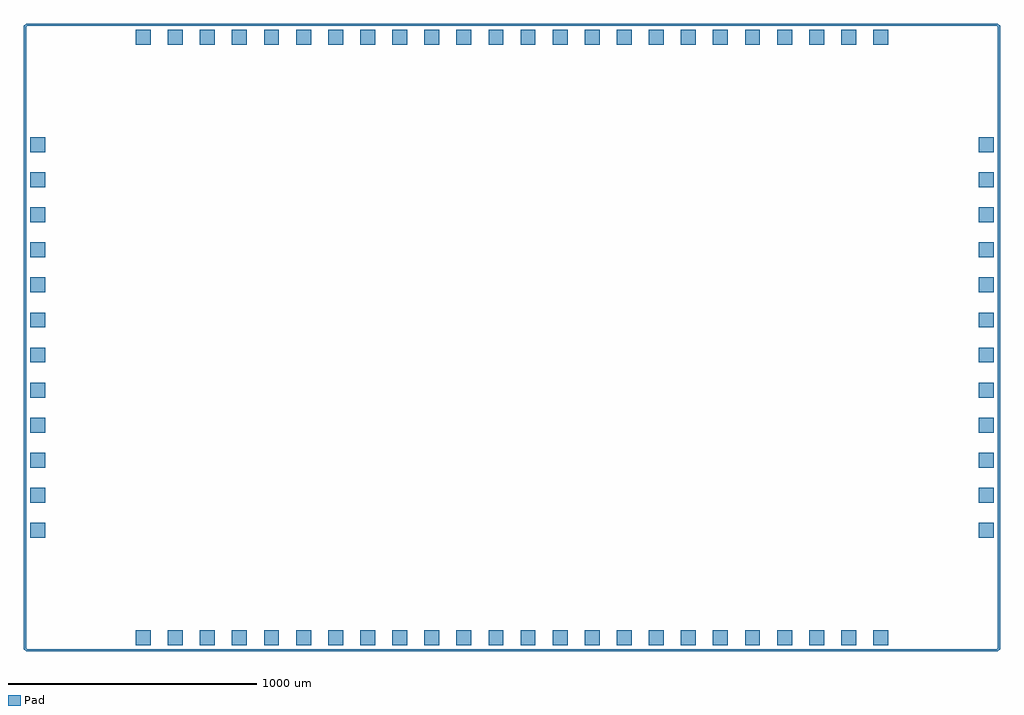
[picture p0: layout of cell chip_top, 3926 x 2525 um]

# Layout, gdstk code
import gdstk
lib = gdstk.Library(unit=1e-6, precision=1e-09)
def R(c, l, rs):  # rectangles x0, y0, x1, y1
    for r in rs: c.add(gdstk.rectangle(r[:2], r[2:], *l))
def A(c, l, x, y, w, h, nx, ny, dx, dy):  # array of equal rectangles
    R(c, l, [(x+i*dx, y+j*dy, x+i*dx+w, y+j*dy+h) for i in range(nx) for j in range(ny)])
def P(c, l, *ps):  # polygons
    for p in ps: c.add(gdstk.Polygon(p, *l))
Pad = (37, 0)

chip_top = lib.new_cell('chip_top')
A(chip_top, Pad, 452.5, 28, 60, 60, 24, 2, 129, 2415)
A(chip_top, Pad, 28, 460, 60, 60, 1, 12, 0, 141)
A(chip_top, Pad, 3844, 460, 60, 60, 1, 12, 0, 141)
P(chip_top, Pad, [(12,3),(3,12),(3,2519),(16,2519),(12,2515),(12,16),(16,12),(3916,12),(3920,16),(3920,2515),(3916,2519),(3,2519),(12,2528),(3920,2528),(3929,2519),(3929,12),(3920,3)])

lib.write_gds('chip_top.gds')
